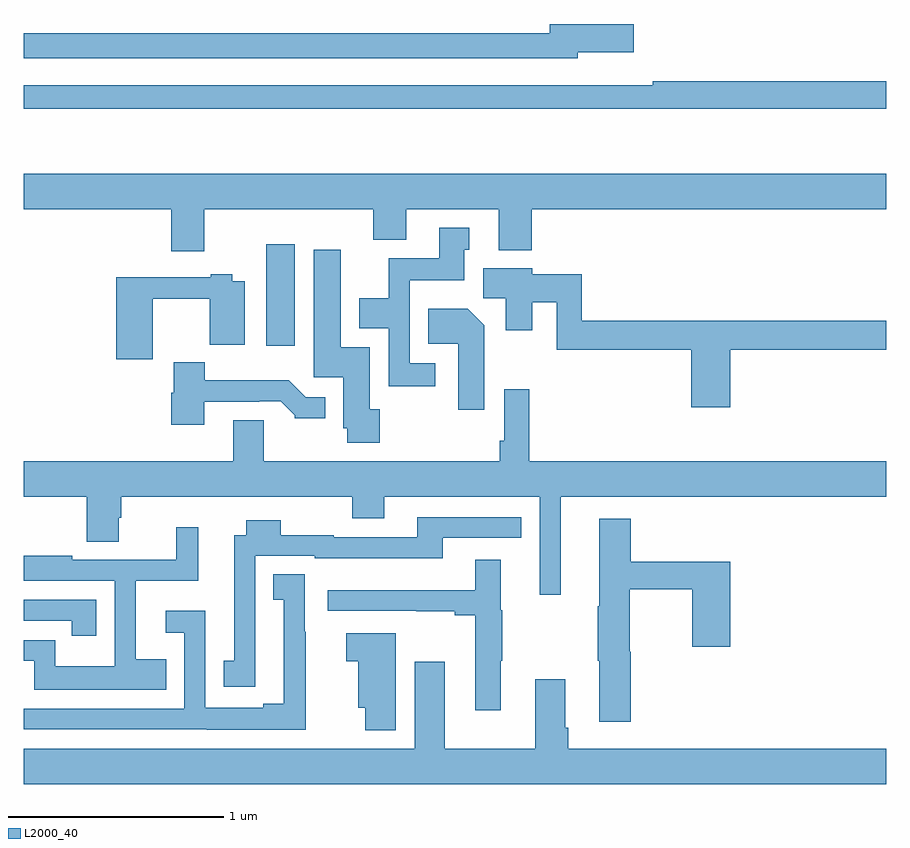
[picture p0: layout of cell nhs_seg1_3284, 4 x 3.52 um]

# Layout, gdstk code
import gdstk
lib = gdstk.Library(unit=1e-6, precision=1e-09)
def R(c, l, rs):  # rectangles x0, y0, x1, y1
    for r in rs: c.add(gdstk.rectangle(r[:2], r[2:], *l))
def P(c, l, *ps):  # polygons
    for p in ps: c.add(gdstk.Polygon(p, *l))
L2000_40 = (2000, 40)

nhs_seg1_3284 = lib.new_cell('nhs_seg1_3284')
R(nhs_seg1_3284, L2000_40, [(290.126,528.456,290.257,528.925)])
P(nhs_seg1_3284, L2000_40, [(291.568,529.817),(291.829,529.817),(291.829,529.947),(291.44,529.947),(291.44,529.904),(289,529.904),(289,529.788),(291.568,529.788)],
  [(293,529.682),(291.916,529.682),(291.916,529.663),(291.664,529.663),(291.664,529.662),(289,529.662),(289,529.554),(293,529.554)],
  [(289.837,529.088),(290.621,529.088),(290.621,528.947),(290.773,528.947),(290.773,529.088),(291.203,529.088),(291.203,528.899),(291.356,528.899),(291.356,529.088),(293,529.088),(293,529.252),(289,529.252),(289,529.088),(289.685,529.088),(289.685,528.894),(289.837,528.894)],
  [(290.908,528.375),(290.79,528.375),(290.79,528.758),(291.043,528.758),(291.043,528.9),(291.067,528.9),(291.067,529.003),(290.927,529.003),(290.927,528.862),(290.692,528.862),(290.692,528.676),(290.555,528.676),(290.555,528.536),(290.694,528.536),(290.694,528.267),(290.908,528.267)],
  [(290.652,528.162),(290.605,528.162),(290.605,528.448),(290.47,528.448),(290.47,528.901),(290.345,528.901),(290.345,528.309),(290.483,528.309),(290.483,528.072),(290.5,528.072),(290.5,528.006),(290.652,528.006)],
  [(292.277,528.436),(293,528.436),(293,528.572),(291.587,528.572),(291.587,528.787),(291.358,528.787),(291.358,528.814),(291.131,528.814),(291.131,528.676),(291.236,528.676),(291.236,528.528),(291.358,528.528),(291.358,528.658),(291.471,528.658),(291.471,528.436),(292.094,528.436),(292.094,528.171),(292.277,528.171)],
  [(289.6,528.673),(289.864,528.673),(289.864,528.461),(290.026,528.461),(290.026,528.754),(289.968,528.754),(289.968,528.787),(289.868,528.787),(289.868,528.774),(289.43,528.774),(289.43,528.393),(289.6,528.393)],
  [(291.136,528.55),(291.058,528.628),(290.875,528.628),(290.875,528.464),(291.014,528.464),(291.014,528.159),(291.136,528.159)],
  [(289.837,528.195),(290.093,528.195),(290.093,528.198),(290.192,528.198),(290.256,528.134),(290.256,528.119),(290.398,528.119),(290.398,528.216),(290.307,528.216),(290.229,528.295),(289.84,528.295),(289.84,528.379),(289.697,528.379),(289.697,528.237),(289.685,528.237),(289.685,528.09),(289.837,528.09)],
  [(289.973,528.11),(289.973,527.92),(289,527.92),(289,527.756),(289.294,527.756),(289.294,527.548),(289.441,527.548),(289.441,527.658),(289.454,527.658),(289.454,527.756),(290.524,527.756),(290.524,527.657),(290.671,527.657),(290.671,527.756),(291.393,527.756),(291.393,527.301),(291.49,527.301),(291.49,527.756),(293,527.756),(293,527.92),(291.344,527.92),(291.344,528.253),(291.228,528.253),(291.228,528.016),(291.208,528.016),(291.208,527.92),(290.113,527.92),(290.113,528.11)],
  [(290.074,527.198),(290.073,527.198),(290.073,527.481),(290.349,527.481),(290.349,527.471),(290.944,527.471),(290.944,527.565),(291.308,527.565),(291.308,527.661),(290.825,527.661),(290.825,527.568),(290.439,527.568),(290.439,527.578),(290.193,527.578),(290.193,527.647),(290.033,527.647),(290.033,527.577),(289.976,527.577),(289.976,526.995),(289.927,526.995),(289.927,526.875),(290.074,526.875)],
  [(291.815,527.037),(291.81,527.037),(291.81,527.326),(292.099,527.326),(292.099,527.061),(292.277,527.061),(292.277,527.455),(291.815,527.455),(291.815,527.653),(291.668,527.653),(291.668,527.249),(291.661,527.249),(291.661,526.996),(291.668,526.996),(291.668,526.713),(291.815,526.713)],
  [(289.661,527.002),(289.519,527.002),(289.519,527.366),(289.81,527.366),(289.81,527.614),(289.708,527.614),(289.708,527.463),(289.225,527.463),(289.225,527.482),(289,527.482),(289,527.367),(289.422,527.367),(289.422,526.969),(289.146,526.969),(289.146,527.09),(289.043,527.09),(289.043,527.091),(289,527.091),(289,526.995),(289.05,526.995),(289.05,526.862),(289.661,526.862)],
  [(291.211,526.996),(291.219,526.996),(291.219,527.229),(291.211,527.229),(291.211,527.464),(291.095,527.464),(291.095,527.323),(290.409,527.323),(290.409,527.226),(290.821,527.226),(290.821,527.224),(290.999,527.224),(290.999,527.206),(291.095,527.206),(291.095,526.767),(291.211,526.767)],
  [(290.307,527.129),(290.304,527.129),(290.304,527.396),(290.158,527.396),(290.158,527.278),(290.207,527.278),(290.207,526.795),(290.111,526.795),(290.111,526.777),(289.842,526.777),(289.842,527.227),(289.659,527.227),(289.659,527.126),(289.746,527.126),(289.746,526.773),(289,526.773),(289,526.677),(289.849,526.677),(289.849,526.676),(290.307,526.676)],
  [(289.337,527.277),(289,527.277),(289,527.181),(289.224,527.181),(289.224,527.112),(289.337,527.112)],
  [(290.725,527.122),(290.496,527.122),(290.496,526.993),(290.552,526.993),(290.552,526.778),(290.585,526.778),(290.585,526.673),(290.725,526.673)],
  [(293,526.588),(291.524,526.588),(291.524,526.684),(291.511,526.684),(291.511,526.909),(291.371,526.909),(291.371,526.588),(290.953,526.588),(290.953,526.99),(290.813,526.99),(290.813,526.588),(289,526.588),(289,526.424),(293,526.424)])

lib.write_gds('nhs_seg1_3284.gds')
